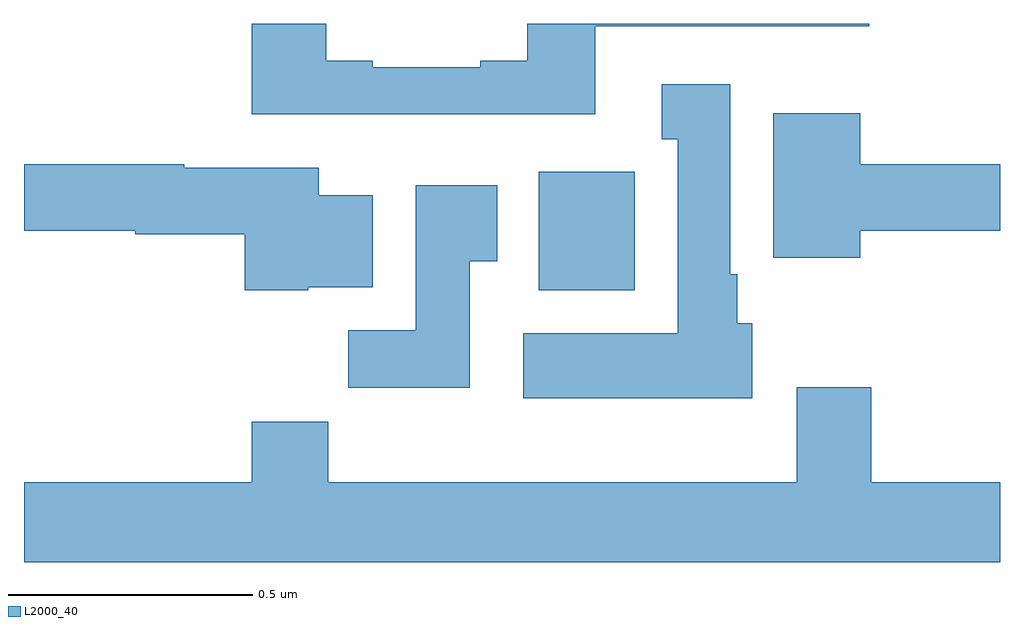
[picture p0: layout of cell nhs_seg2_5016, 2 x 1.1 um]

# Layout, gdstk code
import gdstk
lib = gdstk.Library(unit=1e-6, precision=1e-09)
def R(c, l, rs):  # rectangles x0, y0, x1, y1
    for r in rs: c.add(gdstk.rectangle(r[:2], r[2:], *l))
def P(c, l, *ps):  # polygons
    for p in ps: c.add(gdstk.Polygon(p, *l))
L2000_40 = (2000, 40)

nhs_seg2_5016 = lib.new_cell('nhs_seg2_5016')
R(nhs_seg2_5016, L2000_40, [(175.055,588.254,175.252,588.496)])
P(nhs_seg2_5016, L2000_40, [(175.171,588.795),(175.732,588.795),(175.732,588.8),(175.031,588.8),(175.031,588.724),(174.935,588.724),(174.935,588.711),(174.715,588.711),(174.715,588.724),(174.619,588.724),(174.619,588.8),(174.467,588.8),(174.467,588.614),(175.171,588.614)],
  [(175.492,588.186),(175.462,588.186),(175.462,588.286),(175.447,588.286),(175.447,588.676),(175.307,588.676),(175.307,588.563),(175.34,588.563),(175.34,588.166),(175.023,588.166),(175.023,588.032),(175.492,588.032)],
  [(175.714,588.376),(176,588.376),(176,588.512),(175.714,588.512),(175.714,588.616),(175.535,588.616),(175.535,588.32),(175.714,588.32)],
  [(174.582,588.26),(174.715,588.26),(174.715,588.448),(174.604,588.448),(174.604,588.505),(174.328,588.505),(174.328,588.512),(174,588.512),(174,588.376),(174.228,588.376),(174.228,588.368),(174.452,588.368),(174.452,588.254),(174.582,588.254)],
  [(174.913,588.313),(174.97,588.313),(174.97,588.469),(174.803,588.469),(174.803,588.172),(174.664,588.172),(174.664,588.054),(174.913,588.054)],
  [(176,587.86),(175.736,587.86),(175.736,588.055),(175.583,588.055),(175.583,587.86),(174.623,587.86),(174.623,587.984),(174.467,587.984),(174.467,587.86),(174,587.86),(174,587.696),(176,587.696)])

lib.write_gds('nhs_seg2_5016.gds')
